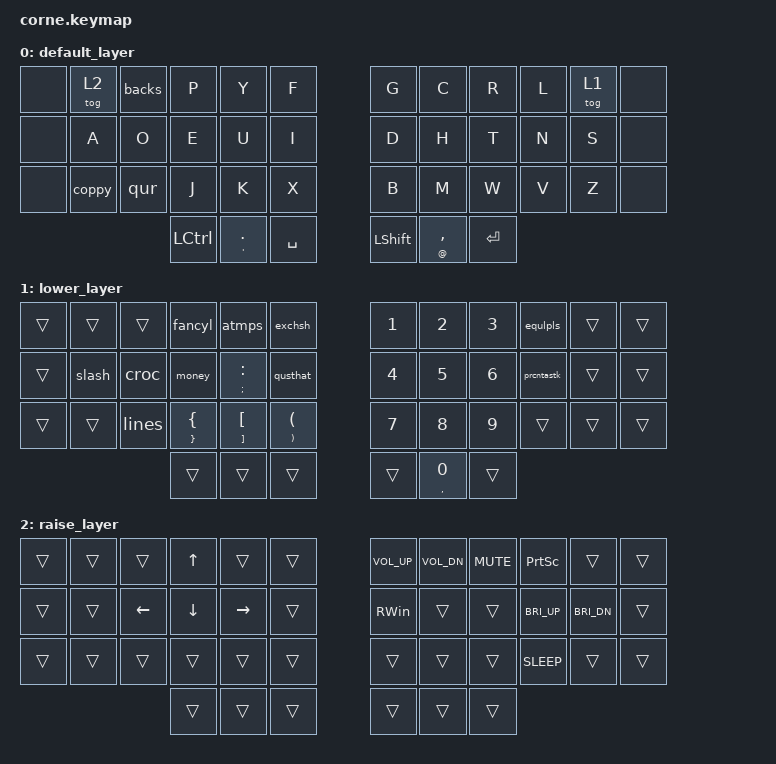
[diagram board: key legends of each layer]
/*
 * Copyright (c) 2020 The ZMK Contributors
 *
 * SPDX-License-Identifier: MIT
 */

#include <behaviors.dtsi>
#include <dt-bindings/zmk/keys.h>
#include <behaviors/num_word.dtsi>


/ {
    behaviors {
        

        croc: croc {
            compatible = "zmk,behavior-mod-morph";
            #binding-cells = <0>;
            bindings = <&kp LT>, <&kp GT>;

            mods = <(MOD_LSFT|MOD_RSFT)>;
        };

        slash: slash {
            compatible = "zmk,behavior-mod-morph";
            #binding-cells = <0>;
            bindings = <&kp FSLH>, <&kp NON_US_BACKSLASH>;

            mods = <(MOD_LSFT|MOD_RSFT)>;
        };

        lines: underscore_pipe {
            compatible = "zmk,behavior-mod-morph";
            #binding-cells = <0>;
            bindings = <&kp UNDER>, <&kp PIPE2>;

            mods = <(MOD_LSFT|MOD_RSFT)>;
        };

        fancyl: minus_tilde {
            compatible = "zmk,behavior-mod-morph";
            #binding-cells = <0>;
            bindings = <&kp MINUS>, <&kp PIPE>;

            mods = <(MOD_LSFT|MOD_RSFT)>;
        };

        equlpls: equal_plus {
            compatible = "zmk,behavior-mod-morph";
            #binding-cells = <0>;
            bindings = <&kp EQUAL>, <&kp PLUS>;

            mods = <(MOD_LSFT|MOD_RSFT)>;
        };

        prcntastk: percent_asterisk {
            compatible = "zmk,behavior-mod-morph";
            #binding-cells = <0>;
            bindings = <&kp PRCNT>, <&kp ASTRK>;

            mods = <(MOD_LSFT|MOD_RSFT)>;
        };

        qusthat: question_caret {
            compatible = "zmk,behavior-mod-morph";
            #binding-cells = <0>;
            bindings = <&kp QMARK>, <&kp CARET>;

            mods = <(MOD_LSFT|MOD_RSFT)>;
        };

        backs: back_del {
            compatible = "zmk,behavior-mod-morph";
            #binding-cells = <0>;
            bindings = <&kp BKSP>, <&kp DEL>;

            mods = <(MOD_LSFT|MOD_RSFT)>;
        };

        esctb: esc_tab {
            compatible = "zmk,behavior-mod-morph";
            #binding-cells = <0>;
            bindings = <&kp ESC>, <&kp TAB>;

            mods = <(MOD_LSFT|MOD_RSFT)>;
        };

        uppies: shift_caps {
            compatible = "zmk,behavior-mod-morph";
            #binding-cells = <0>;
            bindings = <&kp LSHFT>, <&kp CAPS>;

            mods = <(MOD_LCTL)>;
        };

        money: pound_dollar {
            compatible = "zmk,behavior-mod-morph";
            #binding-cells = <0>;
            bindings = <&kp POUND>, <&kp DOLLAR>;

            mods = <(MOD_LSFT|MOD_RSFT)>;
        };

        atmps: at_amps {
            compatible = "zmk,behavior-mod-morph";
            #binding-cells = <0>;
            bindings = <&kp DQT>, <&kp AMPS>;

            mods = <(MOD_LSFT|MOD_RSFT)>;
        };

        exchsh: exclamation_hash {
            compatible = "zmk,behavior-mod-morph";
            #binding-cells = <0>;
            bindings = <&kp EXCL>, <&kp BSLH>;

            mods = <(MOD_LSFT|MOD_RSFT)>;
        };

        coppy: tap_dance_copy_paste {
            compatible = "zmk,behavior-tap-dance";
            #binding-cells = <0>;
            tapping-term-ms = <200>;
            bindings = <&kp LC(C)>, <&kp LC(V)>;
        };

        qur: tap_dance_q_undo_redo {
            compatible = "zmk,behavior-tap-dance";
            #binding-cells = <0>;
            tapping-term-ms = <200>;
            bindings = <&kp Q>, <&kp LC(Z)>, <&kp LC(Y)>;
        };

         innie: tap_dance_space_enter {
            compatible = "zmk,behavior-tap-dance";
            #binding-cells = <0>;
            tapping-term-ms = <200>;
            bindings = <&kp SPACE>, <&kp RET>;
        };
      
      num_word: num_word {
        #binding-cells = <0>;
        compatible = "zmk,behavior-num-word";
        continue-list = <BSPC DEL DOT COMMA PLUS MINUS STAR FSLH EQUAL LPAR RPAR>;
        ignore-numbers;
  };
      nummies: new_num_word {
        #binding-cells = <0>;
        compatible = "zmk,behavior-num-word";
        layers = <(1)>;
        continue-list = <BSPC EQUAL>;
        ignore-numbers;

    };

    };

    keymap {
        compatible = "zmk,keymap";

        default_layer {
            // -----------------------------------------------------------------------------------------
            // | N/A | LWR |esctb|  P  |  Y  |  F  |      |  G  |  C  |  R  |  L  | RSE | N/A |
            // | N/A |  A  |  O  |  E  |  U  |  I  |      |  D  |  H  |  T  |  N  |  S  | N/A |
            // | N/A |coppy|  Q  |  J  |  K  |  X  |      |  B  |  M  |  W  |  V  |  Z  | N/A |
            //                    | ENT |  ⬆  | __(↵)|  |BK(DE)| .(') | ,(") |

            bindings = <
&none  &tog 2  &backs  &kp P  &kp Y  &kp F                    &kp G   &kp C    &kp R    &kp L  &tog 1  &none
&none  &kp A   &kp O   &kp E      &kp U     &kp I                    &kp D   &kp H    &kp T    &kp N  &kp S   &none
&none  &coppy  &qur    &kp J      &kp K     &kp X                    &kp B   &kp M    &kp W    &kp V  &kp Z   &none
                     &kp LCTRL &mt SINGLE_QUOTE DOT &kp SPACE      &kp LSHIFT  &mt AT COMMA  &kp RET 
            >;
        };

        lower_layer {
            // ---------------------https://github.com/FlaviaRas/zmk-configold/issues--------------------------------------------------------------------
            // | N/A | LWR | £($)| -(~)| @(&)| !(#)|      |  1  |  2  |  3  | =(+)| RSE | N/A |
            // | N/A | /(\)| <(>)| %(*)| :(;)| ?(^)|      |  4  |  5  |  6  |     |     | N/A |
            // | N/A |coppy| _(|)| {(})| [(])| (())|      |  7  |  8  |  9  |     |     | N/A |
            //                   | ENT | .(') |SPACE |  |BK(DE)| ,(") |  ⬆  |

            bindings = <
&trans  &trans  &trans   &fancyl        &atmps          &exchsh                &kp N1  &kp N2                         &kp N3  &equlpls    &trans  &trans
&trans  &slash  &croc    &money     &mt SEMI COLON  &qusthat               &kp N4  &kp N5                         &kp N6  &prcntastk  &trans   &trans
&trans  &trans  &lines   &mt RBRC LBRC  &mt RBKT LBKT   &mt RPAR LPAR          &kp N7  &kp N8                         &kp N9  &trans      &trans &trans
                                          &trans    &trans     &trans      &trans  &mt COMMA N0  &trans
            >;
        };

        raise_layer {
            // -----------------------------------------------------------------------------------------
            // | N/A | LWR |     |  ⬆  |     |     |      |  V+ |  V- |  Vx |PSCN | RSE | N/A |
            // | N/A |     |  ⬅ |  ⬇  |  ⮕ |     |      | home |     |    |  B+ |  B- | N/A |
            // | N/A |     |     |     |     |     |      |     |     |     |     |     | N/A |
            //                   | ENT | .(') |SPACE |  |BK(DE)| ,(") |  ⬆  |

            bindings = <
&trans  &trans  &trans    &kp UP    &trans     &trans    &kp C_VOL_UP  &kp C_VOL_DN  &kp C_MUTE  &kp PSCRN     &trans        &trans
&trans  &trans  &kp LEFT  &kp DOWN  &kp RIGHT  &trans    &kp RWIN      &trans        &trans      &kp C_BRI_UP  &kp C_BRI_DN  &trans
&trans  &trans  &trans    &trans    &trans     &trans    &trans        &trans        &trans      &kp C_SLEEP       &trans        &trans
                          &trans    &trans     &trans    &trans        &trans &trans  
            >;
        };
    };
};
